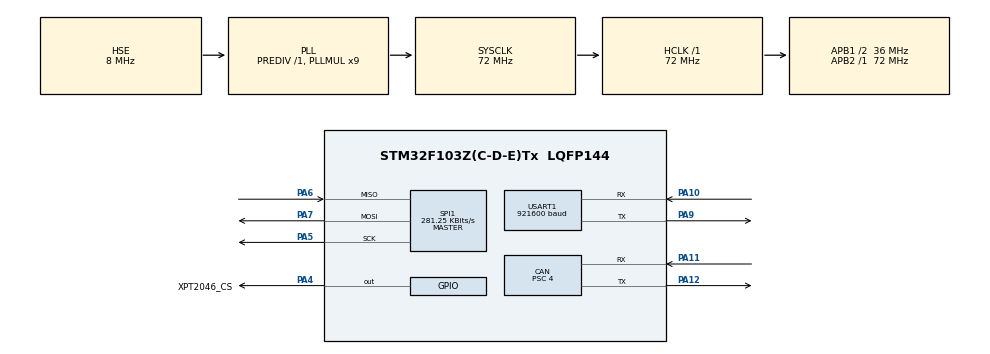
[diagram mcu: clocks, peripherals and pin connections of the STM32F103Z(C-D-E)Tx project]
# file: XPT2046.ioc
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CAN.BS1=CAN_BS1_5TQ
CAN.BS2=CAN_BS2_3TQ
CAN.CalculateTimeBit=1000
CAN.CalculateTimeQuantum=111.11111111111111
CAN.Prescaler=4
Mcu.Family=STM32F1
Mcu.Name=STM32F103Z(C-D-E)Tx
Mcu.Package=LQFP144
NVIC.PriorityGroup=NVIC_PRIORITYGROUP_4
OSC_IN.Mode=HSE-External-Oscillator
OSC_IN.Signal=RCC_OSC_IN
OSC_OUT.Mode=HSE-External-Oscillator
OSC_OUT.Signal=RCC_OSC_OUT
PA10.Mode=Asynchronous
PA10.Signal=USART1_RX
PA11.Mode=Master
PA11.Signal=CAN_RX
PA12.Mode=Master
PA12.Signal=CAN_TX
PA4.GPIO_Label=XPT2046_CS
PA4.GPIO_ModeDefaultOutputPP=GPIO_MODE_OUTPUT_PP
PA4.GPIO_Speed=GPIO_SPEED_FREQ_LOW
PA4.PinState=GPIO_PIN_RESET
PA4.Signal=GPIO_Output
PA5.Mode=Full_Duplex_Master
PA5.Signal=SPI1_SCK
PA6.Mode=Full_Duplex_Master
PA6.Signal=SPI1_MISO
PA7.Mode=Full_Duplex_Master
PA7.Signal=SPI1_MOSI
PA9.Mode=Asynchronous
PA9.Signal=USART1_TX
ProjectManager.HeapSize=0x200
ProjectManager.StackSize=0x400
ProjectManager.TargetToolchain=MDK-ARM V5
RCC.AHBFreq_Value=72000000
RCC.APB1CLKDivider=RCC_HCLK_DIV2
RCC.APB1Freq_Value=36000000
RCC.APB1TimFreq_Value=72000000
RCC.APB2Freq_Value=72000000
RCC.APB2TimFreq_Value=72000000
RCC.HCLKFreq_Value=72000000
RCC.PLLMUL=RCC_PLL_MUL9
RCC.PLLSourceVirtual=RCC_PLLSOURCE_HSE
RCC.SYSCLKFreq_VALUE=72000000
RCC.SYSCLKSource=RCC_SYSCLKSOURCE_PLLCLK
RCC.USBFreq_Value=72000000
SPI1.BaudRatePrescaler=SPI_BAUDRATEPRESCALER_256
SPI1.CalculateBaudRate=281.25 KBits/s
SPI1.Direction=SPI_DIRECTION_2LINES
SPI1.Mode=SPI_MODE_MASTER
SPI1.VirtualType=VM_MASTER
TIM1.CounterMode=TIM_COUNTERMODE_DOWN
TIM1.Period=1
TIM1.Prescaler=71
USART1.BaudRate=921600
USART1.VirtualMode=VM_ASYNC
VP_SYS_VS_ND.Mode=No_Debug
VP_TIM1_VS_ClockSourceINT.Mode=Internal
board=XPT2046

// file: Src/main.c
/**
  ******************************************************************************
  * File Name          : main.c
  * Description        : Main program body
  ******************************************************************************
  ** This notice applies to any and all portions of this file
  * that are not between comment pairs USER CODE BEGIN and
  * USER CODE END. Other portions of this file, whether
  * inserted by the user or by software development tools
  * are owned by their respective copyright owners.
  *
  * COPYRIGHT(c) 2018 STMicroelectronics
  *
  * Redistribution and use in source and binary forms, with or without modification,
  * are permitted provided that the following conditions are met:
  *   1. Redistributions of source code must retain the above copyright notice,
  *      this list of conditions and the following disclaimer.
  *   2. Redistributions in binary form must reproduce the above copyright notice,
  *      this list of conditions and the following disclaimer in the documentation
  *      and/or other materials provided with the distribution.
  *   3. Neither the name of STMicroelectronics nor the names of its contributors
  *      may be used to endorse or promote products derived from this software
  *      without specific prior written permission.
  *
  * THIS SOFTWARE IS PROVIDED BY THE COPYRIGHT HOLDERS AND CONTRIBUTORS "AS IS"
  * AND ANY EXPRESS OR IMPLIED WARRANTIES, INCLUDING, BUT NOT LIMITED TO, THE
  * IMPLIED WARRANTIES OF MERCHANTABILITY AND FITNESS FOR A PARTICULAR PURPOSE ARE
  * DISCLAIMED. IN NO EVENT SHALL THE COPYRIGHT HOLDER OR CONTRIBUTORS BE LIABLE
  * FOR ANY DIRECT, INDIRECT, INCIDENTAL, SPECIAL, EXEMPLARY, OR CONSEQUENTIAL
  * DAMAGES (INCLUDING, BUT NOT LIMITED TO, PROCUREMENT OF SUBSTITUTE GOODS OR
  * SERVICES; LOSS OF USE, DATA, OR PROFITS; OR BUSINESS INTERRUPTION) HOWEVER
  * CAUSED AND ON ANY THEORY OF LIABILITY, WHETHER IN CONTRACT, STRICT LIABILITY,
  * OR TORT (INCLUDING NEGLIGENCE OR OTHERWISE) ARISING IN ANY WAY OUT OF THE USE
  * OF THIS SOFTWARE, EVEN IF ADVISED OF THE POSSIBILITY OF SUCH DAMAGE.
  *
  ******************************************************************************
  */

#include "main.h"
#include "stm32f1xx_hal.h"
#include "can.h"
#include "spi.h"
#include "tim.h"
#include "usart.h"
#include "gpio.h"

/* USER CODE BEGIN Includes */
#include "RC_CAN.h"
#include "XPT2046.h"
/* USER CODE END Includes */

/* USER CODE BEGIN PV */
/* Private variables ---------------------------------------------------------*/

/* USER CODE END PV */

void SystemClock_Config(void);

/* USER CODE BEGIN PFP */
/* Private function prototypes -----------------------------------------------*/

/* USER CODE END PFP */

int main(void)
{

  /* MCU Configuration----------------------------------------------------------*/

  /* Reset of all peripherals, Initializes the Flash interface and the Systick. */
  HAL_Init();

  /* Configure the system clock */
  SystemClock_Config();

  /* Initialize all configured peripherals */
  MX_GPIO_Init();
  MX_SPI1_Init();
  MX_CAN_Init();
  MX_USART1_UART_Init();
  MX_TIM1_Init();

  /* USER CODE BEGIN 2 */
	CanTxMsgTypeDef CANTxMsg;
	CanRxMsgTypeDef CANRxMsg;
	CAN_Init(&hcan, &CANTxMsg, &CANRxMsg);
	XPT2046_TypeDef touch;
	XPT2046_Init(&touch, &hspi1, XPT2046_CS_GPIO_Port, XPT2046_CS_Pin);
	uint8_t Touch_XY[4];
	uint32_t Index = 0;
  /* USER CODE END 2 */

  /* Infinite loop */
  while (1)
  {

  /* USER CODE BEGIN 3 */
		Index++;

		/*
		XPT2046_GetRawX(&touch);
		XPT2046_GetRawY(&touch);

		printf("%-10u%-10u%-10u\r\n", Index, touch.RawX, touch.RawY);
		*/

		//XPT2046_GetPoint(&touch, 100, 50);
		//HAL_Delay(1000);

		if (XPT2046_GetPoint(&touch, 100, 50) && touch.X && touch.Y)
		{
			printf("%-10u%-10u%-10u\r\n", Index, touch.X, touch.Y);
			memcpy(&Touch_XY[0], &(touch.X), 2);
			memcpy(&Touch_XY[2], &(touch.Y), 2);
			CAN_Send(&hcan, Touch_XY, sizeof(Touch_XY));
			HAL_Delay(100);
		}

  }
  /* USER CODE END 3 */

}

/** System Clock Configuration
*/
void SystemClock_Config(void)
{

  RCC_OscInitTypeDef RCC_OscInitStruct;
  RCC_ClkInitTypeDef RCC_ClkInitStruct;

    /**Initializes the CPU, AHB and APB busses clocks
    */
  RCC_OscInitStruct.OscillatorType = RCC_OSCILLATORTYPE_HSE;
  RCC_OscInitStruct.HSEState = RCC_HSE_ON;
  RCC_OscInitStruct.HSEPredivValue = RCC_HSE_PREDIV_DIV1;
  RCC_OscInitStruct.HSIState = RCC_HSI_ON;
  RCC_OscInitStruct.PLL.PLLState = RCC_PLL_ON;
  RCC_OscInitStruct.PLL.PLLSource = RCC_PLLSOURCE_HSE;
  RCC_OscInitStruct.PLL.PLLMUL = RCC_PLL_MUL9;
  if (HAL_RCC_OscConfig(&RCC_OscInitStruct) != HAL_OK)
  {
    _Error_Handler(__FILE__, __LINE__);
  }

    /**Initializes the CPU, AHB and APB busses clocks
    */
  RCC_ClkInitStruct.ClockType = RCC_CLOCKTYPE_HCLK|RCC_CLOCKTYPE_SYSCLK
                              |RCC_CLOCKTYPE_PCLK1|RCC_CLOCKTYPE_PCLK2;
  RCC_ClkInitStruct.SYSCLKSource = RCC_SYSCLKSOURCE_PLLCLK;
  RCC_ClkInitStruct.AHBCLKDivider = RCC_SYSCLK_DIV1;
  RCC_ClkInitStruct.APB1CLKDivider = RCC_HCLK_DIV2;
  RCC_ClkInitStruct.APB2CLKDivider = RCC_HCLK_DIV1;

  if (HAL_RCC_ClockConfig(&RCC_ClkInitStruct, FLASH_LATENCY_2) != HAL_OK)
  {
    _Error_Handler(__FILE__, __LINE__);
  }

    /**Configure the Systick interrupt time
    */
  HAL_SYSTICK_Config(HAL_RCC_GetHCLKFreq()/1000);

    /**Configure the Systick
    */
  HAL_SYSTICK_CLKSourceConfig(SYSTICK_CLKSOURCE_HCLK);

  /* SysTick_IRQn interrupt configuration */
  HAL_NVIC_SetPriority(SysTick_IRQn, 0, 0);
}

void _Error_Handler(char * file, int line)
{
  while(1)
  {
  }
}

/************************ (C) COPYRIGHT STMicroelectronics *****END OF FILE****/
